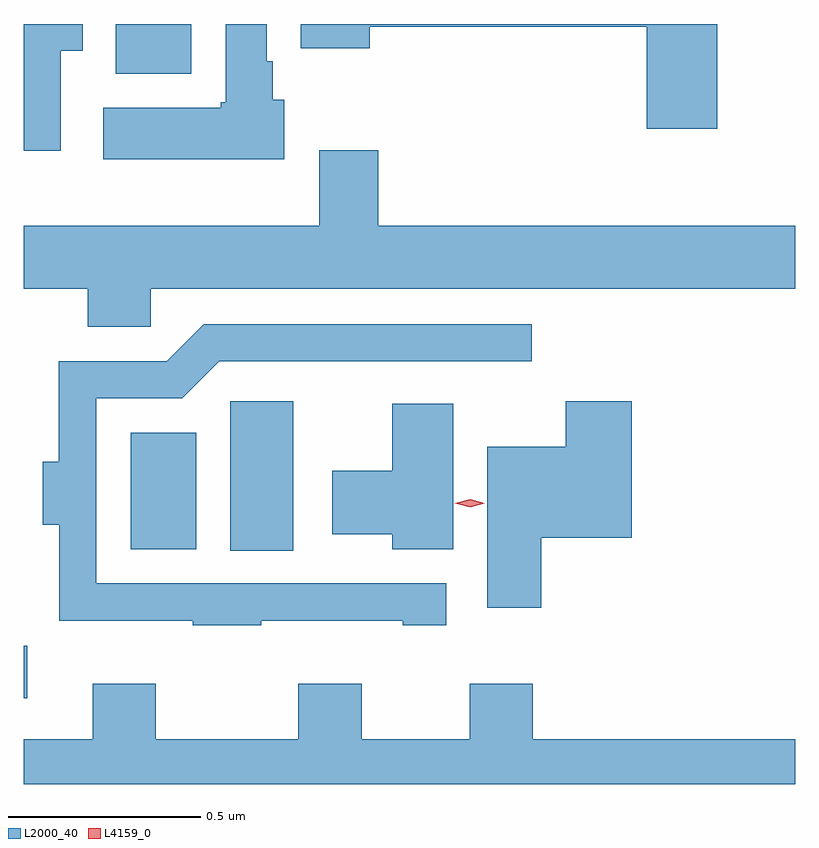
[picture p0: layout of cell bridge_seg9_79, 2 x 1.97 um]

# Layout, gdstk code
import gdstk
lib = gdstk.Library(unit=1e-6, precision=1e-09)
def R(c, l, rs):  # rectangles x0, y0, x1, y1
    for r in rs: c.add(gdstk.rectangle(r[:2], r[2:], *l))
def P(c, l, *ps):  # polygons
    for p in ps: c.add(gdstk.Polygon(p, *l))
L2000_40 = (2000, 40)
L4159_0 = (4159, 0)

bridge_seg9_79 = lib.new_cell('bridge_seg9_79')
R(bridge_seg9_79, L2000_40, [(1107.661,1164.722,1107.67,1164.858), (1108.196,1165.105,1108.36,1165.492), (1107.938,1165.109,1108.108,1165.411), (1107.899,1166.342,1108.095,1166.471)])
P(bridge_seg9_79, L2000_40, [(1109.459,1166.471),(1108.379,1166.471),(1108.379,1166.408),(1108.558,1166.408),(1108.558,1166.464),(1109.276,1166.464),(1109.276,1166.199),(1109.459,1166.199)],
  [(1108.336,1166.274),(1108.306,1166.274),(1108.306,1166.374),(1108.291,1166.374),(1108.291,1166.471),(1108.184,1166.471),(1108.184,1166.268),(1108.171,1166.268),(1108.171,1166.254),(1107.867,1166.254),(1107.867,1166.12),(1108.336,1166.12)],
  [(1107.757,1166.401),(1107.814,1166.401),(1107.814,1166.471),(1107.661,1166.471),(1107.661,1166.142),(1107.757,1166.142)],
  [(1107.99,1165.784),(1109.661,1165.784),(1109.661,1165.948),(1108.58,1165.948),(1108.58,1166.143),(1108.427,1166.143),(1108.427,1165.948),(1107.661,1165.948),(1107.661,1165.784),(1107.827,1165.784),(1107.827,1165.686),(1107.99,1165.686)],
  [(1108.277,1164.923),(1108.643,1164.923),(1108.643,1164.912),(1108.756,1164.912),(1108.756,1165.02),(1107.849,1165.02),(1107.849,1165.5),(1108.071,1165.5),(1108.167,1165.596),(1108.978,1165.596),(1108.978,1165.692),(1108.128,1165.692),(1108.032,1165.596),(1107.752,1165.596),(1107.752,1165.336),(1107.71,1165.336),(1107.71,1165.172),(1107.753,1165.172),(1107.753,1164.923),(1108.099,1164.923),(1108.099,1164.912),(1108.277,1164.912)],
  [(1109.003,1165.139),(1109.237,1165.139),(1109.237,1165.492),(1109.066,1165.492),(1109.066,1165.375),(1108.862,1165.375),(1108.862,1164.957),(1109.003,1164.957)],
  [(1108.774,1165.486),(1108.616,1165.486),(1108.616,1165.312),(1108.461,1165.312),(1108.461,1165.148),(1108.616,1165.148),(1108.616,1165.109),(1108.774,1165.109)],
  [(1109.661,1164.616),(1108.981,1164.616),(1108.981,1164.76),(1108.817,1164.76),(1108.817,1164.616),(1108.537,1164.616),(1108.537,1164.76),(1108.373,1164.76),(1108.373,1164.616),(1108.003,1164.616),(1108.003,1164.76),(1107.839,1164.76),(1107.839,1164.616),(1107.661,1164.616),(1107.661,1164.5),(1109.661,1164.5)])
P(bridge_seg9_79, L4159_0, [(1108.818,1165.218),(1108.779,1165.228),(1108.779,1165.228),(1108.779,1165.228),(1108.818,1165.238),(1108.856,1165.228),(1108.856,1165.228),(1108.856,1165.228)])

lib.write_gds('bridge_seg9_79.gds')
